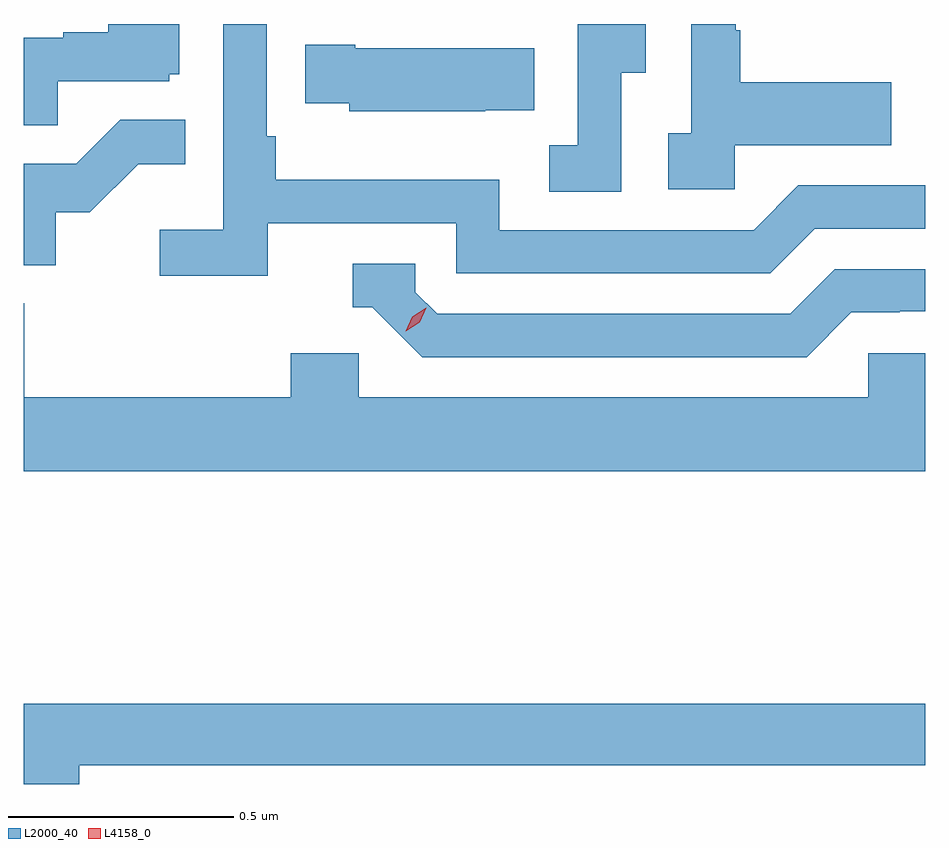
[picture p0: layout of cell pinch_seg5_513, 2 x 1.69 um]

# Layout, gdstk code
import gdstk
lib = gdstk.Library(unit=1e-6, precision=1e-09)
def P(c, l, *ps):  # polygons
    for p in ps: c.add(gdstk.Polygon(p, *l))
L2000_40 = (2000, 40)
L4158_0 = (4158, 0)

pinch_seg5_513 = lib.new_cell('pinch_seg5_513')
P(pinch_seg5_513, L2000_40, [(893.088,850.984),(893.143,850.984),(893.143,851.092),(892.992,851.092),(892.992,850.823),(892.929,850.823),(892.929,850.72),(893.088,850.72)],
  [(891.839,850.965),(892.086,850.965),(892.086,850.98),(892.108,850.98),(892.108,851.092),(891.95,851.092),(891.95,851.074),(891.851,851.074),(891.851,851.061),(891.763,851.061),(891.763,850.867),(891.839,850.867)],
  [(893.34,850.823),(893.687,850.823),(893.687,850.963),(893.353,850.963),(893.353,851.078),(893.343,851.078),(893.343,851.092),(893.244,851.092),(893.244,850.85),(893.193,850.85),(893.193,850.725),(893.34,850.725)],
  [(892.304,850.65),(892.722,850.65),(892.722,850.539),(893.419,850.539),(893.518,850.638),(893.763,850.638),(893.763,850.734),(893.481,850.734),(893.382,850.635),(892.818,850.635),(892.818,850.747),(892.322,850.747),(892.322,850.843),(892.302,850.843),(892.302,851.092),(892.206,851.092),(892.206,850.636),(892.065,850.636),(892.065,850.534),(892.304,850.534)],
  [(892.787,850.901),(892.895,850.901),(892.895,851.038),(892.498,851.038),(892.498,851.046),(892.387,851.046),(892.387,850.916),(892.485,850.916),(892.485,850.898),(892.787,850.898)],
  [(891.834,850.674),(891.91,850.674),(892.017,850.781),(892.121,850.781),(892.121,850.88),(891.977,850.88),(891.879,850.782),(891.763,850.782),(891.763,850.557),(891.834,850.557)],
  [(893.599,850.452),(893.706,850.452),(893.706,850.455),(893.763,850.455),(893.763,850.548),(893.562,850.548),(893.463,850.449),(892.68,850.449),(892.632,850.497),(892.632,850.56),(892.493,850.56),(892.493,850.464),(892.536,850.464),(892.647,850.353),(893.5,850.353)],
  [(893.763,850.362),(893.637,850.362),(893.637,850.264),(892.506,850.264),(892.506,850.362),(892.355,850.362),(892.355,850.264),(891.764,850.264),(891.764,850.472),(891.763,850.472),(891.763,850.1),(893.763,850.1)],
  [(891.886,849.448),(893.763,849.448),(893.763,849.584),(891.763,849.584),(891.763,849.406),(891.886,849.406)])
P(pinch_seg5_513, L4158_0, [(892.61,850.41),(892.61,850.41),(892.625,850.443),(892.656,850.463),(892.656,850.463),(892.656,850.463),(892.641,850.43),(892.611,850.41)])

lib.write_gds('pinch_seg5_513.gds')
